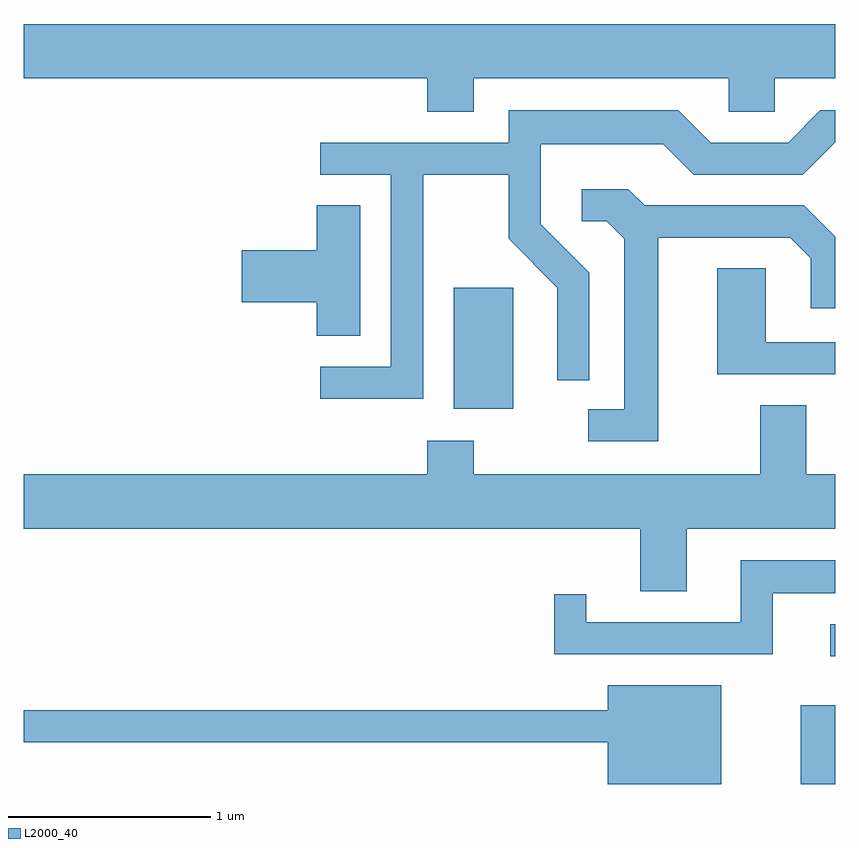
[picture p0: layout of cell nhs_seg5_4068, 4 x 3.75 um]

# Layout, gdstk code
import gdstk
lib = gdstk.Library(unit=1e-6, precision=1e-09)
def R(c, l, rs):  # rectangles x0, y0, x1, y1
    for r in rs: c.add(gdstk.rectangle(r[:2], r[2:], *l))
def P(c, l, *ps):  # polygons
    for p in ps: c.add(gdstk.Polygon(p, *l))
L2000_40 = (2000, 40)

nhs_seg5_4068 = lib.new_cell('nhs_seg5_4068')
R(nhs_seg5_4068, L2000_40, [(309.441,1462.196,309.611,1462.584), (309.588,1462.826,309.611,1462.984), (307.731,1464.046,308.024,1464.644)])
P(nhs_seg5_4068, L2000_40, [(307.829,1465.676),(309.086,1465.676),(309.086,1465.511),(309.314,1465.511),(309.314,1465.676),(309.611,1465.676),(309.611,1465.944),(305.611,1465.944),(305.611,1465.676),(307.601,1465.676),(307.601,1465.511),(307.829,1465.511)],
  [(307.579,1465.201),(308.001,1465.201),(308.001,1464.884),(308.241,1464.644),(308.241,1464.188),(308.399,1464.188),(308.399,1464.717),(308.159,1464.957),(308.159,1465.351),(308.764,1465.351),(308.914,1465.201),(309.452,1465.201),(309.611,1465.36),(309.611,1465.519),(309.539,1465.519),(309.379,1465.359),(308.997,1465.359),(308.837,1465.519),(308.001,1465.519),(308.001,1465.359),(307.073,1465.359),(307.073,1465.201),(307.421,1465.201),(307.421,1464.254),(307.073,1464.254),(307.073,1464.096),(307.579,1464.096)],
  [(308.739,1464.891),(309.389,1464.891),(309.491,1464.789),(309.491,1464.543),(309.611,1464.543),(309.611,1464.895),(309.457,1465.049),(308.672,1465.049),(308.592,1465.129),(308.363,1465.129),(308.363,1464.971),(308.484,1464.971),(308.571,1464.884),(308.571,1464.044),(308.393,1464.044),(308.393,1463.886),(308.739,1463.886)],
  [(307.269,1465.049),(307.056,1465.049),(307.056,1464.829),(306.686,1464.829),(306.686,1464.571),(307.056,1464.571),(307.056,1464.406),(307.269,1464.406)],
  [(309.611,1464.374),(309.269,1464.374),(309.269,1464.739),(309.031,1464.739),(309.031,1464.216),(309.611,1464.216)],
  [(308.879,1463.456),(309.611,1463.456),(309.611,1463.724),(309.469,1463.724),(309.469,1464.064),(309.241,1464.064),(309.241,1463.724),(307.829,1463.724),(307.829,1463.889),(307.601,1463.889),(307.601,1463.724),(305.611,1463.724),(305.611,1463.456),(308.651,1463.456),(308.651,1463.146),(308.879,1463.146)],
  [(309.304,1463.136),(309.611,1463.136),(309.611,1463.299),(309.146,1463.299),(309.146,1462.994),(308.384,1462.994),(308.384,1463.133),(308.226,1463.133),(308.226,1462.836),(309.304,1462.836)],
  [(309.049,1462.684),(308.491,1462.684),(308.491,1462.559),(305.611,1462.559),(305.611,1462.401),(308.491,1462.401),(308.491,1462.196),(309.049,1462.196)])

lib.write_gds('nhs_seg5_4068.gds')
